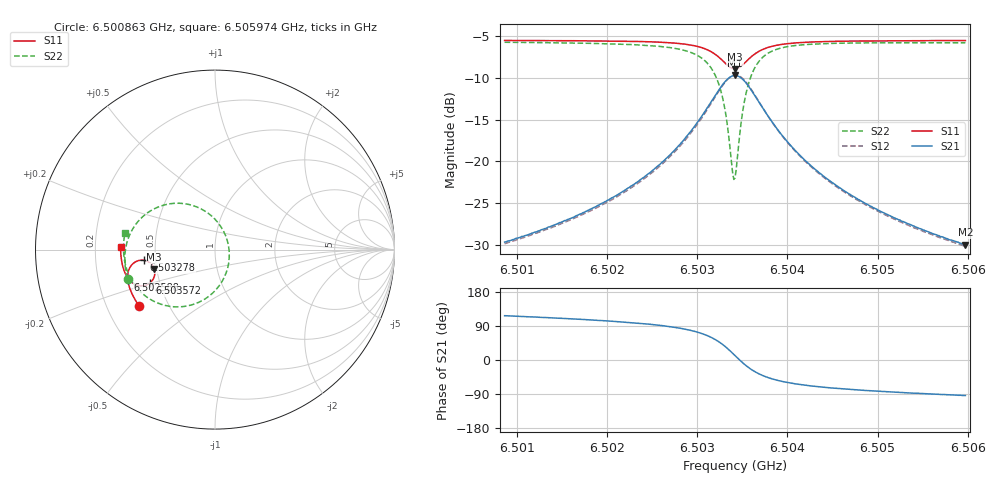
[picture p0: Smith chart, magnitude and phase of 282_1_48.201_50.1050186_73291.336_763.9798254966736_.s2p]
#  HZ  S  RI  R  50.00
! Rohde & Schwarz Vector Network Analyzer
! Rohde-Schwarz,ZNB20-2Port,1311601062101988,3.16
! Created: UTC 3/20/2024, 11:48:42 AM
! freq[Hz]  re:S11  im:S11  re:S21  im:S21  re:S12  im:S12  re:S22  im:S22
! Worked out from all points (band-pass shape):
!   401 points, 6.500863 GHz to 6.505974 GHz, reference 50 ohm
!   highest |S21| = -9.75 dB at 6.503419 GHz (marker M1); lowest = -29.9 dB at 6.505974 GHz (marker M2)
!   |S21| within 3 dB of the highest: 6.503162 GHz to 6.503674 GHz (512.1 kHz wide, 0.00787 % of centre)
!   lowest |S11| = -9.0 dB at 6.503419 GHz (marker M3), VSWR 2.10, Z = 24.2 - j6.04 ohm
!   |S11| at or under -10 dB: nowhere
!   |S22| runs from -22.1 to -5.8 dB; largest |S21 - S12| = 0.011
!   S11 on the Smith chart (normalised r, x): 6.500863 GHz: 0.34, -0.30; 6.502588 GHz: 0.33, -0.15; 6.503278 GHz: 0.43, -0.06; 6.503572 GHz: 0.44, -0.20; 6.505974 GHz: 0.31, +0.01
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6.500863e9  -0.4222 -0.3146  -0.015 0.0295  -0.0132 0.0295  -0.4874 -0.162
6.5017191e9  -0.4596 -0.2522  -0.0144 0.0468  -0.0121 0.0465  -0.502 -0.0721
6.5021919e9  -0.4767 -0.2107  -0.0115 0.0661  -0.00858 0.065  -0.4996 -0.00624
6.5025752e9  -0.486 -0.169  -0.00269 0.0952  0.000891 0.0929  -0.4809 0.0688
6.502588e9  -0.4861 -0.1672  -0.00229 0.0964  0.00144 0.0942  -0.4796 0.072
6.5028308e9  -0.4853 -0.1322  0.016 0.1296  0.0198 0.1258  -0.4409 0.1414
6.5030097e9  -0.4738 -0.099  0.0509 0.1656  0.0541 0.1603  -0.3725 0.2075
6.5031758e9  -0.4389 -0.066  0.1285 0.1987  0.1297 0.1923  -0.2301 0.2576
6.503278e9  -0.3964 -0.0594  0.2135 0.1895  0.2138 0.1842  -0.082 0.2293
6.5033291e9  -0.371 -0.0682  0.2616 0.1614  0.2623 0.1569  -0.00219 0.1715
6.503393e9  -0.3447 -0.0945  0.3087 0.0981  0.3112 0.0931  0.0686 0.0497
6.5034186e9  -0.3384 -0.1089  0.3187 0.0662  0.3217 0.0604  0.0792 -0.00968
6.5034441e9  -0.3356 -0.1244  0.3223 0.033  0.3256 0.026  0.077 -0.0703
6.503508e9  -0.3426 -0.161  0.3043 -0.044  0.3061 -0.0539  0.0217 -0.2036
6.5035719e9  -0.3636 -0.1865  0.2619 -0.0976  0.2607 -0.1085  -0.0737 -0.2855
6.5036741e9  -0.4027 -0.2015  0.1881 -0.1332  0.1829 -0.1426  -0.2219 -0.3189
6.5038403e9  -0.4483 -0.1918  0.1074 -0.1304  0.1005 -0.1351  -0.3673 -0.2729
6.5040192e9  -0.4756 -0.1706  0.0634 -0.1106  0.0572 -0.1127  -0.4386 -0.2085
6.5042747e9  -0.4962 -0.1405  0.0338 -0.0866  0.029 -0.0871  -0.4815 -0.1369
6.5046708e9  -0.512 -0.0997  0.0143 -0.0631  0.0113 -0.0628  -0.5043 -0.0604
6.5051308e9  -0.5211 -0.0575  0.00512 -0.0474  0.00277 -0.0467  -0.5099 0.00345
6.5059742e9  -0.5258 0.0137  -0.00206 -0.0318  -0.00343 -0.0311  -0.5018 0.0917
